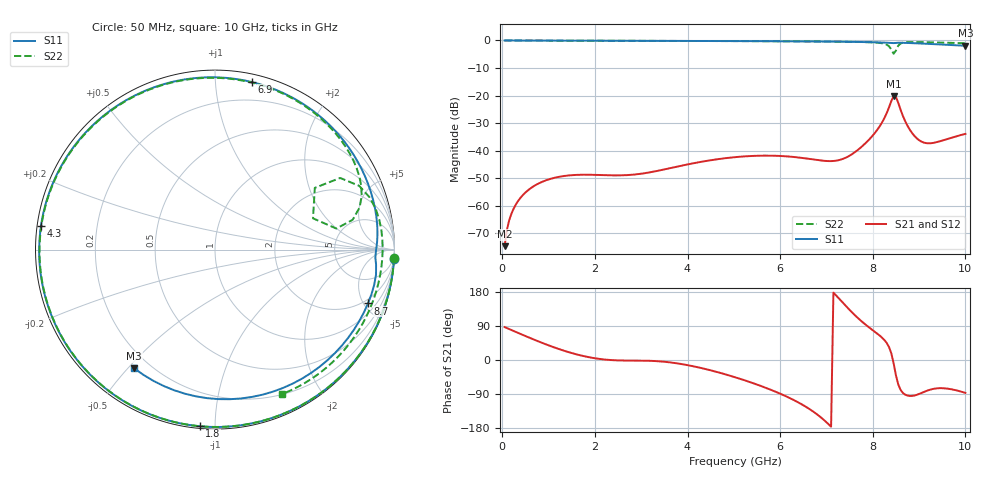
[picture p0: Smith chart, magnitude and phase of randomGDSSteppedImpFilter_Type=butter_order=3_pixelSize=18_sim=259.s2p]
! freq	dB(S11)	phase(S11)	dB(S12)	phase(S12)
!  dB(S21)	phase(S21)	dB(S22)	phase(S22)
!S-par simulation data
#  GHz  S  DB  R 50
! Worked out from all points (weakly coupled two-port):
!   200 points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, 50 MHz to 10 GHz, reference 50 ohm
!   highest |S21| = -20.23 dB at 8.45 GHz (marker M1); lowest = -74.7 dB at 50 MHz (marker M2)
!   lowest |S11| = -1.9 dB at 10 GHz (marker M3), VSWR 9.00, Z = 7.08 - j26 ohm
!   |S11| at or under -10 dB: nowhere
!   |S22| runs from -4.8 to 0.0 dB; largest |S21 - S12| = 0
!   S11 on the Smith chart (normalised r, x): 50 MHz: 1, -39; 1.8 GHz: 0.01, -0.92; 4.3 GHz: 0.01, +0.07; 6.9 GHz: 0.06, +1.24; 8.7 GHz: 1.64, -5.36; 10 GHz: 0.14, -0.52
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0.05  -0.01 -3.0  -74.70 86.9  -74.70 86.9  -0.01 -2.6
0.2  -0.02 -11.6  -62.79 79.0  -62.79 79.0  -0.02 -10.4
0.5  -0.03 -28.7  -55.21 63.2  -55.21 63.2  -0.03 -25.7
1.1  -0.07 -61.2  -49.98 34.2  -49.98 34.2  -0.07 -55.2
1.75  -0.10 -92.7  -48.75 10.5  -48.75 10.5  -0.10 -84.8
1.8  -0.11 -95.0  -48.75 9.1  -48.75 9.1  -0.10 -86.9
2.6  -0.13 -128.3  -48.96 -1.4  -48.96 -1.4  -0.13 -119.3
3.4  -0.15 -157.5  -47.19 -3.6  -47.19 -3.6  -0.16 -148.5
4.3  -0.19 172.2  -44.05 -21.3  -44.05 -21.3  -0.19 -179.3
5.05  -0.23 147.3  -42.34 -46.4  -42.34 -46.4  -0.24 155.4
5.95  -0.29 115.6  -41.91 -86.2  -41.91 -86.2  -0.30 123.6
6.7  -0.37 86.1  -43.19 -134.9  -43.19 -134.9  -0.37 94.7
6.9  -0.39 77.6  -43.64 -153.5  -43.64 -153.5  -0.39 86.5
7.65  -0.54 42.1  -40.12 114.0  -40.12 114.0  -0.53 53.3
8.1  -0.69 17.4  -32.38 69.3  -32.38 69.3  -0.82 29.9
8.35  -0.88 2.6  -24.32 34.4  -24.32 34.4  -2.10 12.2
8.45  -0.97 -2.7  -20.23 -8.4  -20.23 -8.4  -4.83 17.7
8.55  -0.84 -8.8  -22.65 -64.5  -22.65 -64.5  -1.90 29.8
8.7  -0.88 -19.4  -29.33 -91.5  -29.33 -91.5  -0.69 14.1
9.15  -1.20 -52.1  -37.27 -82.1  -37.27 -82.1  -0.65 -14.7
9.6  -1.58 -88.6  -35.83 -75.3  -35.83 -75.3  -0.83 -40.8
10  -1.94 -124.3  -33.94 -86.8  -33.94 -86.8  -1.04 -65.1
